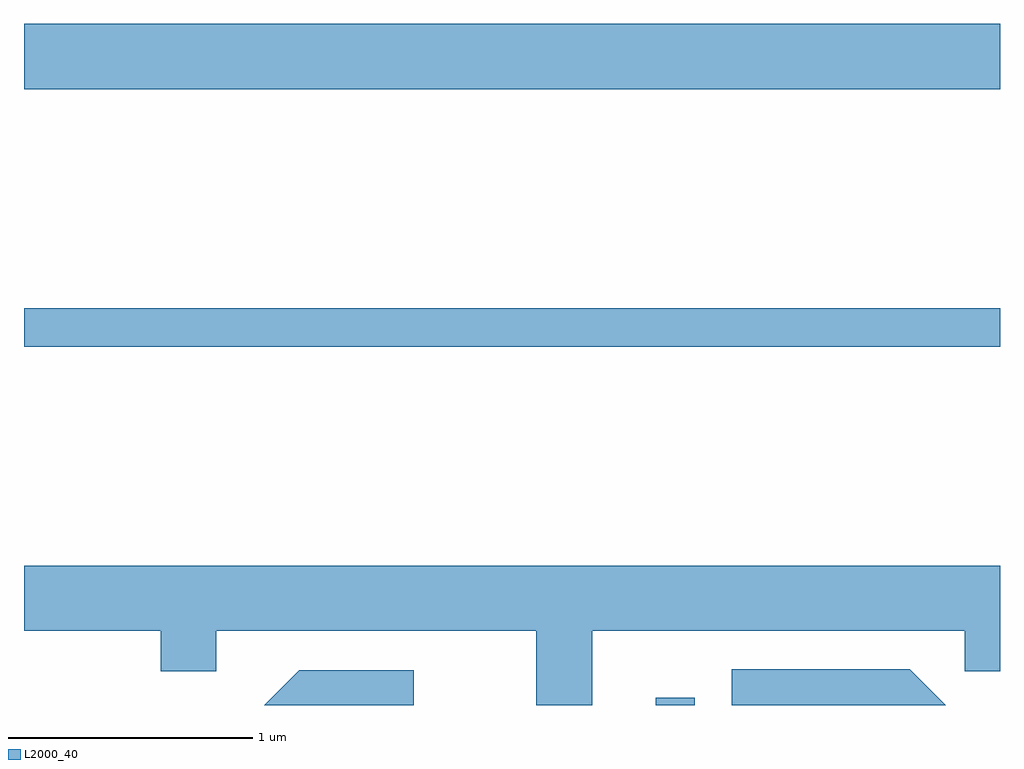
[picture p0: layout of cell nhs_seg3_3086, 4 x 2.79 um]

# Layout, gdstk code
import gdstk
lib = gdstk.Library(unit=1e-6, precision=1e-09)
def R(c, l, rs):  # rectangles x0, y0, x1, y1
    for r in rs: c.add(gdstk.rectangle(r[:2], r[2:], *l))
def P(c, l, *ps):  # polygons
    for p in ps: c.add(gdstk.Polygon(p, *l))
L2000_40 = (2000, 40)

nhs_seg3_3086 = lib.new_cell('nhs_seg3_3086')
R(nhs_seg3_3086, L2000_40, [(278.201,1167.892,278.359,1167.923), (275.611,1169.361,279.611,1169.519), (275.611,1170.416,279.611,1170.684)])
P(nhs_seg3_3086, L2000_40, [(277.939,1168.196),(279.466,1168.196),(279.466,1168.031),(279.611,1168.031),(279.611,1168.464),(275.611,1168.464),(275.611,1168.196),(276.171,1168.196),(276.171,1168.031),(276.399,1168.031),(276.399,1168.196),(277.711,1168.196),(277.711,1167.892),(277.939,1167.892)],
  [(279.242,1168.039),(278.511,1168.039),(278.511,1167.892),(279.389,1167.892)],
  [(277.208,1168.034),(276.739,1168.034),(276.596,1167.892),(277.208,1167.892)])

lib.write_gds('nhs_seg3_3086.gds')
